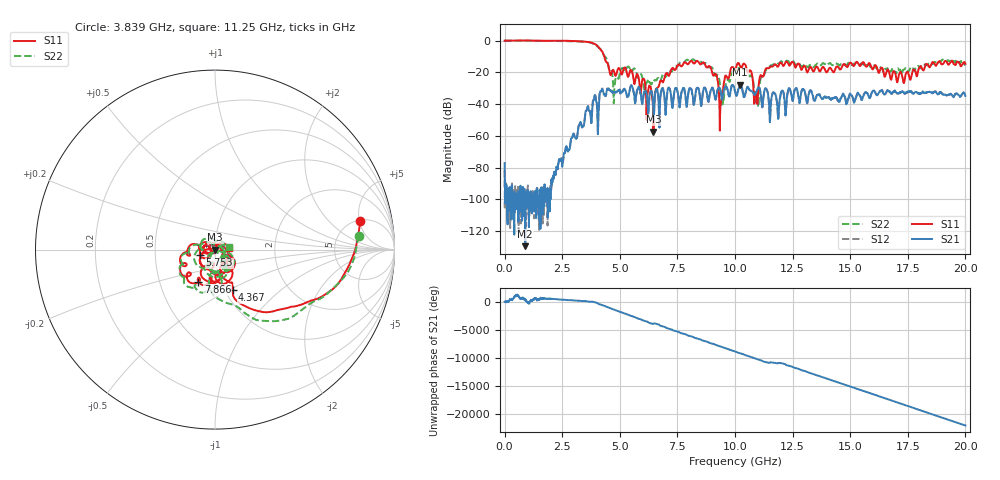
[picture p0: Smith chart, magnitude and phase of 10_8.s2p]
#  HZ  S  RI  R  50.00
! Rohde & Schwarz Vector Network Analyzer
! Rohde-Schwarz,ZNB20-2Port,1311601062102128,3.60
! Created: UTC 4/29/2024, 2:56:00 PM
! freq[Hz]  re:S11  im:S11  re:S21  im:S21  re:S12  im:S12  re:S22  im:S22
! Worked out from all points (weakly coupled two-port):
!   2007 points, 100 kHz to 20 GHz, reference 50 ohm
!   highest |S21| = -27.80 dB at 10.23 GHz (marker M1); lowest = -129.5 dB at 897.4 MHz (marker M2)
!   lowest |S11| = -57.4 dB at 6.461 GHz (marker M3), VSWR 1.00, Z = 50.1 - j0.0102 ohm
!   |S11| at or under -10 dB: 4.326 GHz to end of sweep
!   |S22| runs from -41.8 to 0.1 dB; largest |S21 - S12| = 0.0021
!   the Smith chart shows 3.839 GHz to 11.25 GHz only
!   S11 on the Smith chart (normalised r, x): 3.839 GHz: 5.16, +5.19; 4.367 GHz: 1.08, -0.52; 5.753 GHz: 0.85, -0.05; 7.866 GHz: 0.78, -0.29; 11.25 GHz: 1.17, +0.02
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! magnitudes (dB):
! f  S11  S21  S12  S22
! 100 kHz  0.0  -77.2  -81.7  0.1
! 897.4 MHz  0.1  -129.5  -99.3  0.0
! 2.233 GHz  0.0  -81.7  -82.4  -0.3
! 3.34 GHz  -0.6  -54.0  -53.5  -0.6
! 3.839 GHz  -1.7  -38.2  -37.6  -1.9
! 4.367 GHz  -12.2  -34.9  -34.9  -10.1
! 4.776 GHz  -20.7  -32.4  -32.4  -28.5
! 5.753 GHz  -21.0  -31.2  -31.2  -22.8
! 6.461 GHz  -57.4  -45.8  -45.6  -24.7
! 6.67 GHz  -29.2  -35.1  -35.1  -23.5
! 7.866 GHz  -13.9  -37.6  -37.6  -12.4
! 8.903 GHz  -16.2  -33.8  -33.9  -16.9
! 9.392 GHz  -39.0  -33.6  -33.4  -35.3
! 9.591 GHz  -22.0  -28.7  -28.7  -27.8
! 10 GHz  -18.7  -31.8  -31.8  -19.6
! 10.23 GHz  -16.1  -27.8  -27.7  -16.9
! 10.68 GHz  -19.0  -31.6  -31.6  -22.1
! 10.94 GHz  -34.2  -31.8  -31.8  -32.3
! 11.25 GHz  -21.9  -34.3  -34.4  -22.3
! 13.34 GHz  -18.0  -32.9  -32.8  -15.3
! 16.67 GHz  -19.0  -31.8  -31.7  -20.5
! 20 GHz  -14.6  -34.8  -34.9  -14.4
